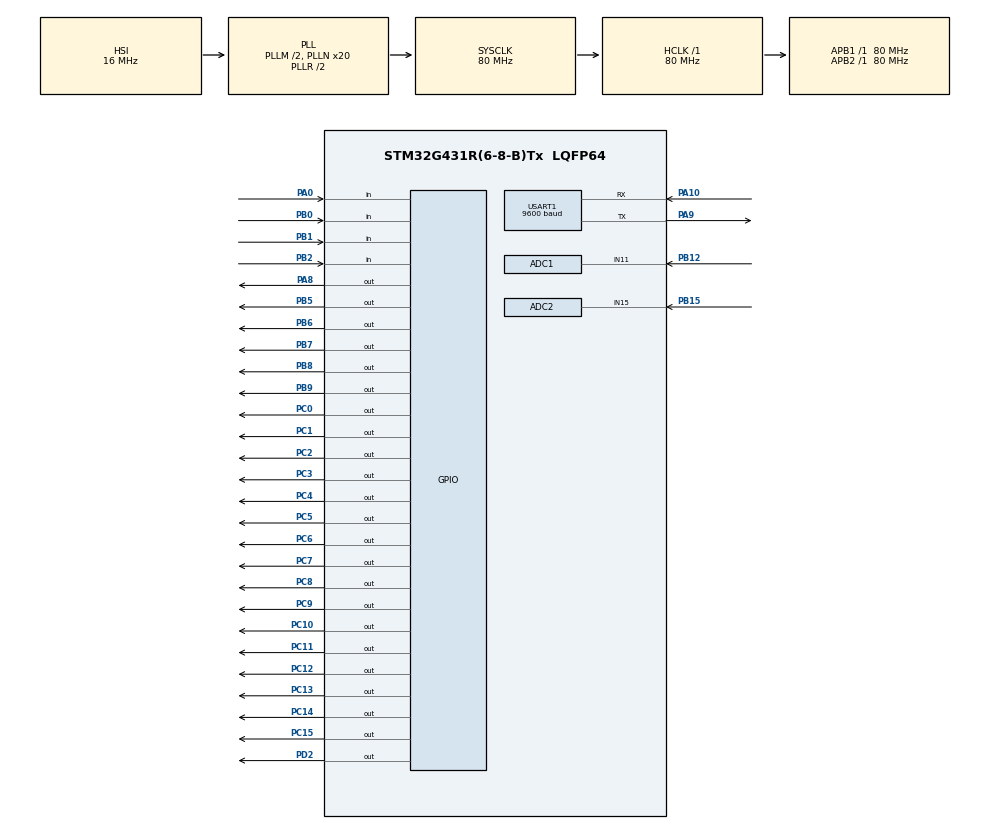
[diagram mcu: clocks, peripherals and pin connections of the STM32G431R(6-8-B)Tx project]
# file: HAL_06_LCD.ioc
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ADC1.Channel-0\#ChannelRegularConversion=ADC_CHANNEL_11
ADC1.NbrOfConversionFlag=1
ADC1.OffsetNumber-0\#ChannelRegularConversion=ADC_OFFSET_NONE
ADC1.Rank-0\#ChannelRegularConversion=1
ADC1.SamplingTime-0\#ChannelRegularConversion=ADC_SAMPLETIME_2CYCLES_5
ADC1.master=1
ADC2.Channel-0\#ChannelRegularConversion=ADC_CHANNEL_15
ADC2.NbrOfConversionFlag=1
ADC2.OffsetNumber-0\#ChannelRegularConversion=ADC_OFFSET_NONE
ADC2.Rank-0\#ChannelRegularConversion=1
ADC2.SamplingTime-0\#ChannelRegularConversion=ADC_SAMPLETIME_2CYCLES_5
Mcu.Family=STM32G4
Mcu.Name=STM32G431R(6-8-B)Tx
Mcu.Package=LQFP64
NVIC.PriorityGroup=NVIC_PRIORITYGROUP_4
NVIC.RTC_Alarm_IRQn=true\:0\:0\:false\:false\:true\:true\:true\:true
NVIC.TIM1_BRK_TIM15_IRQn=true\:0\:0\:false\:false\:true\:true\:true\:true
NVIC.USART1_IRQn=true\:0\:0\:false\:false\:true\:true\:true\:true
PA0.Signal=GPIO_Input
PA10.Mode=Asynchronous
PA10.Signal=USART1_RX
PA13.Mode=Serial_Wire
PA13.Signal=SYS_JTMS-SWDIO
PA14.Mode=Serial_Wire
PA14.Signal=SYS_JTCK-SWCLK
PA8.Signal=GPIO_Output
PA9.Mode=Asynchronous
PA9.Signal=USART1_TX
PB0.Signal=GPIO_Input
PB1.Signal=GPIO_Input
PB12.Mode=IN11-Single-Ended
PB12.Signal=ADC1_IN11
PB15.Mode=IN15-Single-Ended
PB15.Signal=ADC2_IN15
PB2.Signal=GPIO_Input
PB5.Signal=GPIO_Output
PB6.Signal=GPIO_Output
PB7.Signal=GPIO_Output
PB8-BOOT0.Signal=GPIO_Output
PB9.Signal=GPIO_Output
PC0.Signal=GPIO_Output
PC1.Signal=GPIO_Output
PC10.Signal=GPIO_Output
PC11.Signal=GPIO_Output
PC12.Signal=GPIO_Output
PC13.Signal=GPIO_Output
PC14-OSC32_IN.Signal=GPIO_Output
PC15-OSC32_OUT.Signal=GPIO_Output
PC2.Signal=GPIO_Output
PC3.Signal=GPIO_Output
PC4.Signal=GPIO_Output
PC5.Signal=GPIO_Output
PC6.Signal=GPIO_Output
PC7.Signal=GPIO_Output
PC8.Signal=GPIO_Output
PC9.Signal=GPIO_Output
PD2.Signal=GPIO_Output
PF0-OSC_IN.Mode=HSE-External-Oscillator
PF0-OSC_IN.Signal=RCC_OSC_IN
PF1-OSC_OUT.Mode=HSE-External-Oscillator
PF1-OSC_OUT.Signal=RCC_OSC_OUT
ProjectManager.HeapSize=0x200
ProjectManager.StackSize=0x400
ProjectManager.TargetToolchain=MDK-ARM V5.27
RCC.ADC12Freq_Value=80000000
RCC.AHBFreq_Value=80000000
RCC.APB1Freq_Value=80000000
RCC.APB1TimFreq_Value=80000000
RCC.APB2Freq_Value=80000000
RCC.APB2TimFreq_Value=80000000
RCC.CortexFreq_Value=80000000
RCC.EXTERNAL_CLOCK_VALUE=12288000
RCC.HCLKFreq_Value=80000000
RCC.HSE_VALUE=24000000
RCC.HSI48_VALUE=48000000
RCC.HSI_VALUE=16000000
RCC.LSE_VALUE=32768
RCC.PLLM=RCC_PLLM_DIV2
RCC.PLLN=20
RCC.SYSCLKFreq_VALUE=80000000
RCC.SYSCLKSource=RCC_SYSCLKSOURCE_PLLCLK
RCC.USBFreq_Value=80000000
RCC.VCOOutputFreq_Value=160000000
RTC.Alarm-Alarm\ A=RTC_ALARM_A
RTC.AlarmMaskDateWeekDay-Alarm\ A=RTC_ALARMMASK_DATEWEEKDAY
RTC.AlarmMaskHours-Alarm\ A=RTC_ALARMMASK_HOURS
RTC.AlarmMaskMinutes-Alarm\ A=RTC_ALARMMASK_MINUTES
RTC.Hours=23
RTC.Hours_A-Alarm\ A=23
RTC.Minutes=59
RTC.Minutes_A-Alarm\ A=59
RTC.Seconds=55
RTC.Seconds_A-Alarm\ A=56
TIM15.AutoReloadPreload=TIM_AUTORELOAD_PRELOAD_ENABLE
TIM15.PeriodNoDither=1000-1
TIM15.Prescaler=80-1
USART1.BaudRate=9600
USART1.VirtualMode-Asynchronous=VM_ASYNC
VP_RTC_VS_RTC_Activate.Mode=RTC_Enabled
VP_RTC_VS_RTC_Alarm_A_Intern.Mode=Alarm A
VP_RTC_VS_RTC_Calendar.Mode=RTC_Calendar
VP_SYS_VS_DBSignals.Mode=DisableDeadBatterySignals
VP_TIM15_VS_ClockSourceINT.Mode=Internal
board=custom

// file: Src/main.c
/* USER CODE BEGIN Header */
/**
  ******************************************************************************
  * @file           : main.c
  * @brief          : Main program body
  ******************************************************************************
  * @attention
  *
  * <h2><center>&copy; Copyright (c) 2021 STMicroelectronics.
  * All rights reserved.</center></h2>
  *
  * This software component is licensed by ST under BSD 3-Clause license,
  * the "License"; You may not use this file except in compliance with the
  * License. You may obtain a copy of the License at:
  *                        opensource.org/licenses/BSD-3-Clause
  *
  ******************************************************************************
  */
/* USER CODE END Header */
#include "main.h"
#include "adc.h"
#include "rtc.h"
#include "tim.h"
#include "usart.h"
#include "gpio.h"

/* USER CODE BEGIN Includes */
#include "stdio.h"
#include "string.h"
#include "i2c_hal.h"
int fputc(int ch,FILE *f)
{
	HAL_UART_Transmit (&huart1 ,(uint8_t *)&ch,1,HAL_MAX_DELAY );
	return ch;
}
/* USER CODE END Includes */

/* USER CODE BEGIN PTD */
struct KEY{
	_Bool key_sta;
	_Bool key_singe_flag;
	unsigned int key_judge;
};
struct KEY key[4]={0,0,0};

int test_flag=0;

struct TIME{
	uint8_t hour;
	uint8_t min;
	uint8_t sec;
	uint8_t flag;
}set_time={0,0,0,0},set_time_temp={0,0,0,0};

int key0_count=0;
int key1_count=0;
int key2_count=0;
int key3_count=0;

_Bool key0_flag=0;
_Bool key1_flag=0;
_Bool key2_flag=0;
_Bool key3_flag=0;

_Bool led_flag=0;

#define N 0.7

double Vdd=3.3f;
double K=0.1f;

extern RTC_AlarmTypeDef sAlarm;
RTC_TimeTypeDef rtc_time;
RTC_DateTypeDef rtc_date;

unsigned int key_time=0;
unsigned int led_delay_time=0;

unsigned int setting_choose=1;
unsigned int setting_time_choose=1;
unsigned int lcd_choose=1;

double adc_value=0.0f;
double last_adc_value=0.0f;

char lcd_text[20];

uint8_t Pdata;
int data_pointer=0;
char rx_data[30];
char tx_data[30];
_Bool tx_flag=0;
/* USER CODE END PTD */

void SystemClock_Config(void);

/* USER CODE BEGIN 0 */
//获取ADC电压函数
void get_dac(){
	double value=0.0;
	HAL_ADC_Start(&hadc2);
		value=HAL_ADC_GetValue(&hadc2);
		adc_value=(float)((value/4096.0)*3.3);
		adc_value=0.7*adc_value+(1-0.7)*last_adc_value;
		last_adc_value=adc_value;
}
//关闭其余灯
void led_off(){
	HAL_GPIO_WritePin(GPIOC, GPIO_PIN_13|GPIO_PIN_14|GPIO_PIN_15|GPIO_PIN_9|GPIO_PIN_10
                          |GPIO_PIN_11|GPIO_PIN_12, GPIO_PIN_SET);

	HAL_GPIO_WritePin(GPIOD,GPIO_PIN_2, GPIO_PIN_SET);
	HAL_GPIO_WritePin(GPIOD,GPIO_PIN_2, GPIO_PIN_RESET);
}
//led灯开关函数
void led_display(GPIO_TypeDef *GPIOx, uint16_t GPIO_Pin, GPIO_PinState PinState){
	HAL_GPIO_WritePin(GPIOx,GPIO_Pin, PinState);

	HAL_GPIO_WritePin(GPIOD,GPIO_PIN_2, GPIO_PIN_SET);
	HAL_GPIO_WritePin(GPIOD,GPIO_PIN_2, GPIO_PIN_RESET);
}
//显示屏处理函数
void lcd_proc(){
	if(key1_count%2==0)
	{
		if(lcd_choose==1)
		{
			LCD_Clear(White);
			lcd_choose=2;
		}
		//////////////////////////////////////////////////////1
		LCD_SetTextColor(Black);
		sprintf(lcd_text,"   V1_real:%.2fV        ",adc_value);
		LCD_DisplayStringLine(Line1,(unsigned char *)lcd_text);
		//////////////////////////////////////////////////////2
		LCD_SetTextColor(Black);
		sprintf(lcd_text,"   V1_set:%.2fV        ",Vdd*K);
		LCD_DisplayStringLine(Line2,(unsigned char *)lcd_text);
		//////////////////////////////////////////////////////3
		LCD_SetTextColor(Black);
		sprintf(lcd_text,"   K:%.2f        ",K);
		LCD_DisplayStringLine(Line3,(unsigned char *)lcd_text);
		//////////////////////////////////////////////////////4
		if(adc_value>(Vdd*K)&&key0_count%2==0)
		{
			LCD_SetTextColor(Black);
			sprintf(lcd_text,"   LED:ON      ");
			LCD_DisplayStringLine(Line4,(unsigned char *)lcd_text);
		}
		else
		{
			LCD_SetTextColor(Black);
			sprintf(lcd_text,"   LED:OFF        ");
			LCD_DisplayStringLine(Line4,(unsigned char *)lcd_text);
		}
		//////////////////////////////////////////////////////4
		LCD_SetTextColor(Black);
		sprintf(lcd_text,"   T:%d-%d-%d        ",rtc_time.Hours,rtc_time.Minutes,rtc_time.Seconds);
		LCD_DisplayStringLine(Line5,(unsigned char *)lcd_text);

		LCD_SetTextColor(Black);
		sprintf(lcd_text,"   A:%d-%d-%d        ",set_time.hour,set_time.min,set_time.sec);
		LCD_DisplayStringLine(Line6,(unsigned char *)lcd_text);
	}
	else////////设置界面
	{
		if(lcd_choose==2)
		{
			LCD_Clear(White);
			lcd_choose=1;
		}
		//////////////////////////////////////////////////////1
		LCD_SetTextColor(Black);
		sprintf(lcd_text,"   Setting");
		LCD_DisplayStringLine(Line1,(unsigned char *)lcd_text);

		LCD_SetTextColor(Black);
		sprintf(lcd_text,"   T:%d-%d-%d        ",set_time_temp.hour,set_time_temp.min,set_time_temp.sec);
		LCD_DisplayStringLine(Line3,(unsigned char *)lcd_text);
	}

}
//按键处理函数
void key_proc(){
	if(key[0].key_singe_flag==1)
	{
		key0_count++;
		key[0].key_singe_flag=0;
	}
	else if(key[1].key_singe_flag==1)/////////////B2
	{
		key1_count++;
		if(key1_count%2==0)
		{
			setting_choose=1;////时间选择
			if(setting_time_choose==2)
			{
				set_time.hour=set_time_temp.hour;
				set_time.min=set_time_temp.min;
				set_time.sec=set_time_temp.sec;
				setting_time_choose=1;
			}
		}
		else
		{
				set_time_temp.hour=set_time.hour;
				set_time_temp.min=set_time.min;
				set_time_temp.sec=set_time.sec;
		}
		key[1].key_singe_flag=0;
	}
	else if(key[2].key_singe_flag==1)///////////B3
	{
		if(key1_count%2!=0)
		{
			if(setting_choose==1)
			{
				setting_choose=2;
			}
			else if(setting_choose==2)
			{
				setting_choose=3;
			}
			else if(setting_choose==3)
			{
				setting_choose=1;
			}
		}
		if(setting_time_choose==1)
		setting_time_choose=2;
		key[2].key_singe_flag=0;
	}
	else if(key[3].key_singe_flag==1)////////B4
	{
		if(key1_count%2!=0)
		{
			if(setting_choose==1)
			{
				set_time_temp.sec+=1;
				if(set_time_temp.sec==60) set_time_temp.sec=0;
			}
			else if(setting_choose==2)
			{
				set_time_temp.min+=1;
				if(set_time_temp.min==60) set_time_temp.min=0;
			}
			else if(setting_choose==3)
			{
				set_time_temp.hour+=1;
				if(set_time_temp.hour==24) set_time_temp.hour=0;
			}
		}
		if(setting_time_choose==1)
		setting_time_choose=2;
		key[3].key_singe_flag=0;
	}

}
//led灯任务函数
void led_proc(){
	if(key0_count%2==0)
	{
		if(adc_value>(Vdd*K))
		{
			led_flag=1;
			if(led_delay_time<200)
			{
				led_display(GPIOC,GPIO_PIN_8,GPIO_PIN_RESET);//开灯
			}
			else if(led_delay_time>=200&&led_delay_time<=400)
			{
				led_display(GPIOC,GPIO_PIN_8,GPIO_PIN_SET);//关灯
			}
			else
			{
				led_delay_time=0;
			}

		}
		else
		{
			led_flag=0;
			led_delay_time=0;
			led_display(GPIOC,GPIO_PIN_8,GPIO_PIN_SET);//关灯
		}
	}
	else
	{
		led_display(GPIOC,GPIO_PIN_8,GPIO_PIN_SET);//关灯
	}

}
//处理串口数据函数
void deal_data(){
	if(data_pointer>0)
	{
		if(data_pointer==6)
		{
			if(rx_data[1]=='0')
			{
				K=(rx_data[3]-48);
				write_eeprom(1,K);
				K=K*0.1;
				HAL_Delay(10);
				HAL_Delay(10);
				printf("ok\n");
			}
			data_pointer=0;
		}
		else
		{
			sprintf(tx_data,"error\r\n");
		HAL_UART_Transmit(&huart1, (uint8_t*)tx_data, strlen(tx_data),100);
			data_pointer=0;
		}
	}
}
////串口接收处理函数
void usart_proc(){
	int temp=data_pointer;
	HAL_Delay(2);
	if(temp==data_pointer)
		deal_data();

	if(rtc_time.Hours==set_time.hour&&rtc_time.Minutes==set_time.min&&rtc_time.Seconds==set_time.sec&&tx_flag==0)
	{
		sprintf(tx_data,"%.2f+%.2f+%d%d%d\n",adc_value,K,rtc_time.Hours,rtc_time.Minutes,rtc_time.Seconds);
		HAL_UART_Transmit(&huart1, (uint8_t*)tx_data, strlen(tx_data),100);
		tx_flag=1;
	}
}
/* USER CODE END 0 */

int main(void)
{

  /* MCU Configuration--------------------------------------------------------*/

  /* Reset of all peripherals, Initializes the Flash interface and the Systick. */
  HAL_Init();

  /* Configure the system clock */
  SystemClock_Config();

  /* Initialize all configured peripherals */
  MX_GPIO_Init();
  MX_ADC2_Init();
  MX_ADC1_Init();
  MX_RTC_Init();
  MX_TIM15_Init();
  MX_USART1_UART_Init();
  /* USER CODE BEGIN 2 */

	HAL_UART_Receive_IT(&huart1, &Pdata, 1);

	HAL_TIM_Base_Start_IT(&htim15);

	HAL_RTC_SetAlarm_IT(&hrtc, &sAlarm, RTC_FORMAT_BIN);
	HAL_RTC_GetTime(&hrtc, &rtc_time, RTC_FORMAT_BIN);
	HAL_RTC_GetDate(&hrtc, &rtc_date, RTC_FORMAT_BIN);
	LCD_Init();
  /* USER CODE END 2 */

  /* Infinite loop */
  /* USER CODE BEGIN WHILE */
	LCD_Clear(White);
	LCD_SetBackColor(White);
	LCD_SetTextColor(Black);
///////////////eeprom初始化
	if(read_eeprom(0xff)!=20)
	{
		HAL_Delay(5);
		K=0.1;
		write_eeprom(0xff,20);
		HAL_Delay(10);
	}
	else
	{
		HAL_Delay(5);
		K=read_eeprom(1);
		HAL_Delay(5);
		K=K*0.1;
	}
  while (1)
  {
		led_off();
		get_dac();
		key_proc();
		led_proc();
		usart_proc();
		lcd_proc();
    /* USER CODE END WHILE */

  }
}

void SystemClock_Config(void)
{
  RCC_OscInitTypeDef RCC_OscInitStruct = {0};
  RCC_ClkInitTypeDef RCC_ClkInitStruct = {0};

  /** Configure the main internal regulator output voltage
  */
  HAL_PWREx_ControlVoltageScaling(PWR_REGULATOR_VOLTAGE_SCALE1);

  /** Initializes the RCC Oscillators according to the specified parameters
  * in the RCC_OscInitTypeDef structure.
  */
  RCC_OscInitStruct.OscillatorType = RCC_OSCILLATORTYPE_HSI|RCC_OSCILLATORTYPE_LSI;
  RCC_OscInitStruct.HSIState = RCC_HSI_ON;
  RCC_OscInitStruct.HSICalibrationValue = RCC_HSICALIBRATION_DEFAULT;
  RCC_OscInitStruct.LSIState = RCC_LSI_ON;
  RCC_OscInitStruct.PLL.PLLState = RCC_PLL_ON;
  RCC_OscInitStruct.PLL.PLLSource = RCC_PLLSOURCE_HSI;
  RCC_OscInitStruct.PLL.PLLM = RCC_PLLM_DIV2;
  RCC_OscInitStruct.PLL.PLLN = 20;
  RCC_OscInitStruct.PLL.PLLP = RCC_PLLP_DIV2;
  RCC_OscInitStruct.PLL.PLLQ = RCC_PLLQ_DIV2;
  RCC_OscInitStruct.PLL.PLLR = RCC_PLLR_DIV2;
  if (HAL_RCC_OscConfig(&RCC_OscInitStruct) != HAL_OK)
  {
    Error_Handler();
  }

  /** Initializes the CPU, AHB and APB buses clocks
  */
  RCC_ClkInitStruct.ClockType = RCC_CLOCKTYPE_HCLK|RCC_CLOCKTYPE_SYSCLK
                              |RCC_CLOCKTYPE_PCLK1|RCC_CLOCKTYPE_PCLK2;
  RCC_ClkInitStruct.SYSCLKSource = RCC_SYSCLKSOURCE_PLLCLK;
  RCC_ClkInitStruct.AHBCLKDivider = RCC_SYSCLK_DIV1;
  RCC_ClkInitStruct.APB1CLKDivider = RCC_HCLK_DIV1;
  RCC_ClkInitStruct.APB2CLKDivider = RCC_HCLK_DIV1;

  if (HAL_RCC_ClockConfig(&RCC_ClkInitStruct, FLASH_LATENCY_2) != HAL_OK)
  {
    Error_Handler();
  }
}

/* USER CODE BEGIN 4 */
//中断回调函数
void HAL_UART_RxCpltCallback(UART_HandleTypeDef *huart){
	if(huart->Instance==USART1)
	{
		rx_data[data_pointer++]=Pdata;
		HAL_UART_Receive_IT(&huart1, &Pdata, 1);
	}
}

void HAL_RTC_AlarmAEventCallback(RTC_HandleTypeDef *hrtc){
	tx_flag=0;
	HAL_RTC_GetTime(hrtc, &rtc_time, RTC_FORMAT_BIN);
	HAL_RTC_GetDate(hrtc, &rtc_date, RTC_FORMAT_BIN);
	sAlarm.AlarmTime.Seconds=rtc_time.Seconds+1;
	if(sAlarm.AlarmTime.Seconds==60)sAlarm.AlarmTime.Seconds=0;
	HAL_RTC_SetAlarm_IT(hrtc, &sAlarm, RTC_FORMAT_BIN);
}

void HAL_TIM_PeriodElapsedCallback(TIM_HandleTypeDef *htim){
	if(htim->Instance==TIM15)
	{
		if(led_flag)
		{
			led_delay_time++;
		}

		if(key_time>=80)
		{
			key[0].key_sta=HAL_GPIO_ReadPin(GPIOB,GPIO_PIN_0);
			key[1].key_sta=HAL_GPIO_ReadPin(GPIOB,GPIO_PIN_1);
			key[2].key_sta=HAL_GPIO_ReadPin(GPIOB,GPIO_PIN_2);
			key[3].key_sta=HAL_GPIO_ReadPin(GPIOA,GPIO_PIN_0);

			for(int i=0;i<4;i++)
			{
				switch(key[i].key_judge)
				{
					case 0:
					{
						if(key[i].key_sta==0)
							key[i].key_judge=1;
					}break;
					case 1:
					{
						if(key[i].key_sta==0)
							key[i].key_singe_flag=1;
						else
							key[i].key_judge=0;
					}break;
				}
			}

			key_time=0;
		}
		else
			key_time++;

	}
}
/* USER CODE END 4 */

void Error_Handler(void)
{
}
